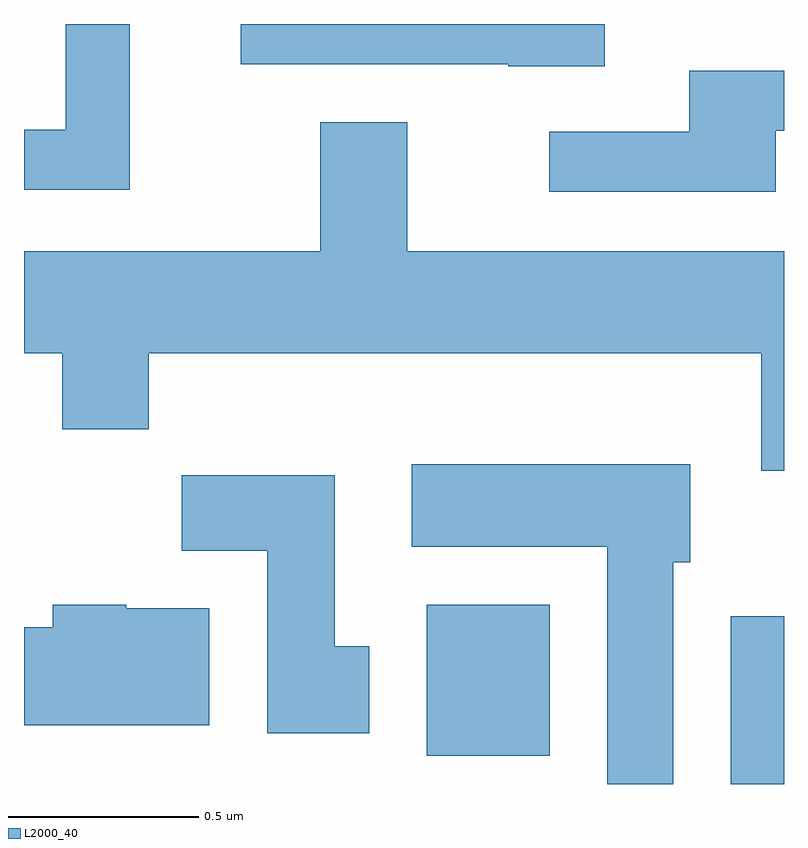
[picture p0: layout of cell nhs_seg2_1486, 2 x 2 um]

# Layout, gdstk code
import gdstk
lib = gdstk.Library(unit=1e-6, precision=1e-09)
def R(c, l, rs):  # rectangles x0, y0, x1, y1
    for r in rs: c.add(gdstk.rectangle(r[:2], r[2:], *l))
def P(c, l, *ps):  # polygons
    for p in ps: c.add(gdstk.Polygon(p, *l))
L2000_40 = (2000, 40)

nhs_seg2_1486 = lib.new_cell('nhs_seg2_1486')
R(nhs_seg2_1486, L2000_40, [(197.471,1093.802,197.611,1094.244), (196.671,1093.876,196.994,1094.274)])
P(nhs_seg2_1486, L2000_40, [(195.889,1095.802),(195.721,1095.802),(195.721,1095.524),(195.611,1095.524),(195.611,1095.366),(195.889,1095.366)],
  [(197.139,1095.802),(196.181,1095.802),(196.181,1095.696),(196.885,1095.696),(196.885,1095.691),(197.139,1095.691)],
  [(197.589,1095.521),(197.611,1095.521),(197.611,1095.679),(197.361,1095.679),(197.361,1095.519),(196.993,1095.519),(196.993,1095.361),(197.589,1095.361)],
  [(197.611,1095.204),(196.619,1095.204),(196.619,1095.544),(196.391,1095.544),(196.391,1095.204),(195.611,1095.204),(195.611,1094.936),(195.711,1094.936),(195.711,1094.736),(195.939,1094.736),(195.939,1094.936),(197.551,1094.936),(197.551,1094.626),(197.611,1094.626)],
  [(197.319,1094.386),(197.364,1094.386),(197.364,1094.644),(196.631,1094.644),(196.631,1094.426),(197.146,1094.426),(197.146,1093.802),(197.319,1093.802)],
  [(196.519,1094.164),(196.429,1094.164),(196.429,1094.614),(196.026,1094.614),(196.026,1094.416),(196.251,1094.416),(196.251,1093.936),(196.519,1093.936)],
  [(196.099,1094.264),(195.88,1094.264),(195.88,1094.274),(195.686,1094.274),(195.686,1094.214),(195.611,1094.214),(195.611,1093.956),(196.099,1093.956)])

lib.write_gds('nhs_seg2_1486.gds')
